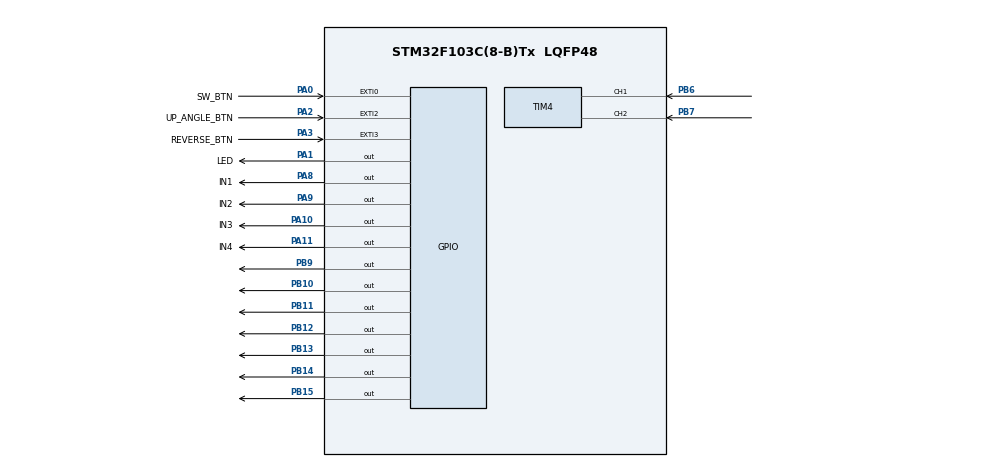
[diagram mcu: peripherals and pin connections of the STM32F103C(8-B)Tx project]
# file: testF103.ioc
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Mcu.Family=STM32F1
Mcu.Name=STM32F103C(8-B)Tx
Mcu.Package=LQFP48
NVIC.EXTI0_IRQn=true\:0\:0\:true\:false\:true\:true\:true\:true
NVIC.EXTI2_IRQn=true\:0\:0\:true\:false\:true\:true\:true\:true
NVIC.EXTI3_IRQn=true\:0\:0\:true\:false\:true\:true\:true\:true
NVIC.PriorityGroup=NVIC_PRIORITYGROUP_4
PA0-WKUP.GPIO_Label=SW_BTN
PA0-WKUP.GPIO_ModeDefaultEXTI=GPIO_MODE_IT_FALLING
PA0-WKUP.GPIO_PuPd=GPIO_PULLUP
PA0-WKUP.Signal=GPXTI0
PA1.GPIO_Label=LED
PA1.Signal=GPIO_Output
PA10.GPIO_Label=IN3
PA10.Signal=GPIO_Output
PA11.GPIO_Label=IN4
PA11.Signal=GPIO_Output
PA13.Mode=Serial_Wire
PA13.Signal=SYS_JTMS-SWDIO
PA14.Mode=Serial_Wire
PA14.Signal=SYS_JTCK-SWCLK
PA2.GPIO_Label=UP_ANGLE_BTN
PA2.GPIO_ModeDefaultEXTI=GPIO_MODE_IT_FALLING
PA2.GPIO_PuPd=GPIO_PULLUP
PA2.Signal=GPXTI2
PA3.GPIO_Label=REVERSE_BTN
PA3.GPIO_ModeDefaultEXTI=GPIO_MODE_IT_FALLING
PA3.GPIO_PuPd=GPIO_PULLUP
PA3.Signal=GPXTI3
PA8.GPIO_Label=IN1
PA8.Signal=GPIO_Output
PA9.GPIO_Label=IN2
PA9.Signal=GPIO_Output
PB10.Signal=GPIO_Output
PB11.Signal=GPIO_Output
PB12.Signal=GPIO_Output
PB13.Signal=GPIO_Output
PB14.Signal=GPIO_Output
PB15.Signal=GPIO_Output
PB4.Signal=SPI1_MISO
PB6.Signal=S_TIM4_CH1
PB7.Signal=S_TIM4_CH2
PB9.Signal=GPIO_Output
PD0-OSC_IN.Mode=HSE-External-Oscillator
PD0-OSC_IN.Signal=RCC_OSC_IN
PD1-OSC_OUT.Mode=HSE-External-Oscillator
PD1-OSC_OUT.Signal=RCC_OSC_OUT
ProjectManager.HeapSize=0x200
ProjectManager.StackSize=0x400
ProjectManager.TargetToolchain=MDK-ARM V5.32
RCC.APB1Freq_Value=8000000
RCC.APB2Freq_Value=8000000
SH.S_TIM4_CH1.0=TIM4_CH1,Encoder_Interface
SH.S_TIM4_CH2.0=TIM4_CH2,Encoder_Interface
TIM2.Period=0xffff-1
TIM2.Prescaler=8-1
TIM4.EncoderMode=TIM_ENCODERMODE_TI12
TIM4.IC1Filter=0
TIM4.IC2Filter=0
VP_TIM2_VS_ClockSourceINT.Mode=Internal
board=custom

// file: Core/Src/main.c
/* USER CODE BEGIN Header */
/**
  ******************************************************************************
  * @file           : main.c
  * @brief          : Main program body
  ******************************************************************************
  * @attention
  *
  * Copyright (c) 2024 STMicroelectronics.
  * All rights reserved.
  *
  * This software is licensed under terms that can be found in the LICENSE file
  * in the root directory of this software component.
  * If no LICENSE file comes with this software, it is provided AS-IS.
  *
  ******************************************************************************
  */
/* USER CODE END Header */
#include "main.h"

TIM_HandleTypeDef htim2;
TIM_HandleTypeDef htim4;

void SystemClock_Config(void);
static void MX_GPIO_Init(void);
static void MX_TIM2_Init(void);
static void MX_TIM4_Init(void);

/* USER CODE BEGIN 0 */
#include "delay.h"
#include "lcd.h"
#include "stdlib.h"
#include "stdint.h"
#include "stdio.h"
#include "math.h"

 // To process button event
#define DEBOUNCE_DELAY_MS 500
uint32_t lastButtonPressTime;
int runStatus;
float setAngleArr[] = {30, 45, 60, 90, 120, 180};
int setAngleArrLen = sizeof(setAngleArr) / sizeof(setAngleArr[0]);

 // To read rotary encoder
int encoderPos;
#define x4PulsePerEncoderRnd 10000

// To process the motion of step motor
const int rpm = 375;
float setAngle = 90;
float rotateAngle = 90;
#define stepPerRnd 200
#define microSecondPerMinute 60000000
const float transmitRatio = 1.25;
const float anglePerStep = 1.8;
const uint16_t seqHalfDrive[8] = {0x0800, 0x0C00, 0x0400, 0x0600, 0x0200, 0x0300, 0x0100, 0x0900};

/////////////////////////////////////////  Process button event  ///////////////////////////////////////////
float findNext(float arr[], int arrSize, float cur){
    if (arr[arrSize - 1] == cur) {
        return arr[0];
    }
    else{
        for (int i = 0; i < arrSize; i++) {
            if (arr[i] == cur) {
                return arr[i + 1];
            }
        }
    }
    return -1;
}

void HAL_GPIO_EXTI_Callback(uint16_t GPIO_Pin){
	// Denoise for button
	uint32_t currentTime = HAL_GetTick();
	if (currentTime - lastButtonPressTime < DEBOUNCE_DELAY_MS ) { return; }
	lastButtonPressTime = currentTime;

	// Handle button press event
	// <Start/Stop> button
	if (GPIO_Pin == GPIO_PIN_0){
		runStatus++;
	}
	// <Modify Rotate Angle> button
	else if (GPIO_Pin == GPIO_PIN_2){
		if (setAngle > 0){ setAngle = findNext(setAngleArr, setAngleArrLen, setAngle); }
		else{ setAngle = -findNext(setAngleArr, setAngleArrLen, fabs(setAngle)); }
		rotateAngle = setAngle;
	}
	// <Reverse Rotate Direction> button
	else if (GPIO_Pin == GPIO_PIN_3){
		setAngle = -setAngle;
		rotateAngle = setAngle;
	}

	// Update LCD
	if (runStatus % 2 == 1){
		LCD_GotoXY(0, 1);
		LCD_Puts("RUN - ANGLE:");
	} else if (runStatus % 2 == 0){
		LCD_GotoXY(0, 1);
		LCD_Puts(" STOP-ANGLE:");
	}
	char setAngleChar[5];
	sprintf(setAngleChar, "%d   ", (int)setAngle);
	LCD_GotoXY(12, 1);
	LCD_Puts(setAngleChar);
}
///////////////////////////////////////////////////////////////////////////////////////////////////////////////////////

///////////////////////  Read rotary encoder and control rotate angle of step motor  ////////////////////////
void makePosArr(float angle, float *posArr, int size) {
    for (int i = 0; i < size; i++) {
        posArr[i] = i * angle;
    }
}

float findNearest(float arr[], int arrSize, float num){
    int diff = fabs(arr[0] - num);
    int index = 0;
    for (int i = 1; i < arrSize; i++) {
        if (fabs(arr[i] - num) < diff) {
            diff = fabs(arr[i] - num);
            index = i;
        }
    }
    return arr[index];
}

void readEncoder(){
	// Read rotary encoder
	int cntValue = TIM4 -> CNT;
	encoderPos = round((360.0f / x4PulsePerEncoderRnd) * (cntValue % x4PulsePerEncoderRnd));

	// Control rotate angle of step motor
	int checkError = encoderPos % (int)setAngle;
	if (checkError!= 0){
		// Create the desired positions
		int posArrLen = (int) (360 / fabs(setAngle)) + 1;
		float posArr[posArrLen];
		makePosArr(fabs(setAngle), posArr, posArrLen);
		int nearestPos = findNearest(posArr, posArrLen, encoderPos);

		// Increase or decrease the steps to reach the desired position
		if (setAngle > 0){
			if (nearestPos > encoderPos){ rotateAngle = setAngle + (nearestPos - encoderPos); }
			else{ rotateAngle = setAngle - (encoderPos - nearestPos); }
		}
		else{
			if (nearestPos < encoderPos){ rotateAngle = -(fabs(setAngle) - (nearestPos - encoderPos)); }
			else{ rotateAngle = -(fabs(setAngle) + (encoderPos - nearestPos)); }
		}
	}
	else{ rotateAngle = setAngle; }

	// Update LCD
	LCD_GotoXY(0, 0);
	LCD_Puts(" POSITION: ");
	LCD_GotoXY(11, 0);
	char encoderPosChar[6];
	sprintf(encoderPosChar, "%d    ", encoderPos);
	LCD_Puts(encoderPosChar);
}
////////////////////////////////////////////////////////////////////////////////////////////////////

////////////////////////////  Process the motion of step motor  //////////////////////////////
void runStep(int time, int step){
	GPIOA->ODR &= ~(0xF << 8);
	GPIOA->ODR |= seqHalfDrive[step % 8];
	Delay_Us(time);
}

void runAngle(float angle) {
	if (angle == 0) { return; }
	else{
		// Set parameters to run step motor
		angle = angle / transmitRatio;
		int timePerStep = microSecondPerMinute / rpm / stepPerRnd;
		int stepNumber = (int)( round( fabs(angle) / anglePerStep ) ) * 2;

		// Run step motor
		if (angle >= 0){
			for(int step = stepNumber; step >= 0; step--) { runStep(timePerStep, step); }
		} else if (angle < 0) {
			for (int step = 0; step <= stepNumber; step++) { runStep(timePerStep, step); }
		}
	}
}

void runMotor(){
	if (runStatus % 2 == 1) {
		HAL_GPIO_WritePin(GPIOA, LED_Pin, 1);
		runAngle(rotateAngle);
		readEncoder();
		Delay_Ms(1000);
	} else if (runStatus % 2 == 0){
		HAL_GPIO_WritePin(GPIOA, LED_Pin, 0);
		runAngle(0);
	}
}
//////////////////////////////////////////////////////////////////////////////////////////////////

/* USER CODE END 0 */

int main(void)
{

  /* MCU Configuration--------------------------------------------------------*/

  /* Reset of all peripherals, Initializes the Flash interface and the Systick. */
  HAL_Init();

  /* Configure the system clock */
  SystemClock_Config();

  /* Initialize all configured peripherals */
  MX_GPIO_Init();
  MX_TIM2_Init();
  MX_TIM4_Init();
  /* USER CODE BEGIN 2 */
  HAL_TIM_Encoder_Start(&htim4, TIM_CHANNEL_1 | TIM_CHANNEL_2);
  Delay_Init();
  LCD_Init();
  LCD_Puts(" AUTO TURNTABLE ");
  LCD_GotoXY(0, 1);
  LCD_Puts(" STOP - ANGLE:0 ");

  /* USER CODE END 2 */

  /* Infinite loop */
  while (1)
  {

    /* USER CODE BEGIN 3 */
	runMotor();
  }
  /* USER CODE END 3 */
}

void SystemClock_Config(void)
{
  RCC_OscInitTypeDef RCC_OscInitStruct = {0};
  RCC_ClkInitTypeDef RCC_ClkInitStruct = {0};

  /** Initializes the RCC Oscillators according to the specified parameters
  * in the RCC_OscInitTypeDef structure.
  */
  RCC_OscInitStruct.OscillatorType = RCC_OSCILLATORTYPE_HSI;
  RCC_OscInitStruct.HSIState = RCC_HSI_ON;
  RCC_OscInitStruct.HSICalibrationValue = RCC_HSICALIBRATION_DEFAULT;
  RCC_OscInitStruct.PLL.PLLState = RCC_PLL_NONE;
  if (HAL_RCC_OscConfig(&RCC_OscInitStruct) != HAL_OK)
  {
    Error_Handler();
  }

  /** Initializes the CPU, AHB and APB buses clocks
  */
  RCC_ClkInitStruct.ClockType = RCC_CLOCKTYPE_HCLK|RCC_CLOCKTYPE_SYSCLK
                              |RCC_CLOCKTYPE_PCLK1|RCC_CLOCKTYPE_PCLK2;
  RCC_ClkInitStruct.SYSCLKSource = RCC_SYSCLKSOURCE_HSI;
  RCC_ClkInitStruct.AHBCLKDivider = RCC_SYSCLK_DIV1;
  RCC_ClkInitStruct.APB1CLKDivider = RCC_HCLK_DIV1;
  RCC_ClkInitStruct.APB2CLKDivider = RCC_HCLK_DIV1;

  if (HAL_RCC_ClockConfig(&RCC_ClkInitStruct, FLASH_LATENCY_0) != HAL_OK)
  {
    Error_Handler();
  }
}

static void MX_TIM2_Init(void)
{

  TIM_ClockConfigTypeDef sClockSourceConfig = {0};
  TIM_MasterConfigTypeDef sMasterConfig = {0};

  htim2.Instance = TIM2;
  htim2.Init.Prescaler = 8-1;
  htim2.Init.CounterMode = TIM_COUNTERMODE_UP;
  htim2.Init.Period = 0xffff-1;
  htim2.Init.ClockDivision = TIM_CLOCKDIVISION_DIV1;
  htim2.Init.AutoReloadPreload = TIM_AUTORELOAD_PRELOAD_DISABLE;
  if (HAL_TIM_Base_Init(&htim2) != HAL_OK)
  {
    Error_Handler();
  }
  sClockSourceConfig.ClockSource = TIM_CLOCKSOURCE_INTERNAL;
  if (HAL_TIM_ConfigClockSource(&htim2, &sClockSourceConfig) != HAL_OK)
  {
    Error_Handler();
  }
  sMasterConfig.MasterOutputTrigger = TIM_TRGO_RESET;
  sMasterConfig.MasterSlaveMode = TIM_MASTERSLAVEMODE_DISABLE;
  if (HAL_TIMEx_MasterConfigSynchronization(&htim2, &sMasterConfig) != HAL_OK)
  {
    Error_Handler();
  }

}

static void MX_TIM4_Init(void)
{

  TIM_Encoder_InitTypeDef sConfig = {0};
  TIM_MasterConfigTypeDef sMasterConfig = {0};

  htim4.Instance = TIM4;
  htim4.Init.Prescaler = 0;
  htim4.Init.CounterMode = TIM_COUNTERMODE_UP;
  htim4.Init.Period = 65535;
  htim4.Init.ClockDivision = TIM_CLOCKDIVISION_DIV1;
  htim4.Init.AutoReloadPreload = TIM_AUTORELOAD_PRELOAD_DISABLE;
  sConfig.EncoderMode = TIM_ENCODERMODE_TI12;
  sConfig.IC1Polarity = TIM_ICPOLARITY_RISING;
  sConfig.IC1Selection = TIM_ICSELECTION_DIRECTTI;
  sConfig.IC1Prescaler = TIM_ICPSC_DIV1;
  sConfig.IC1Filter = 0;
  sConfig.IC2Polarity = TIM_ICPOLARITY_RISING;
  sConfig.IC2Selection = TIM_ICSELECTION_DIRECTTI;
  sConfig.IC2Prescaler = TIM_ICPSC_DIV1;
  sConfig.IC2Filter = 0;
  if (HAL_TIM_Encoder_Init(&htim4, &sConfig) != HAL_OK)
  {
    Error_Handler();
  }
  sMasterConfig.MasterOutputTrigger = TIM_TRGO_RESET;
  sMasterConfig.MasterSlaveMode = TIM_MASTERSLAVEMODE_DISABLE;
  if (HAL_TIMEx_MasterConfigSynchronization(&htim4, &sMasterConfig) != HAL_OK)
  {
    Error_Handler();
  }

}

static void MX_GPIO_Init(void)
{
  GPIO_InitTypeDef GPIO_InitStruct = {0};

  /* GPIO Ports Clock Enable */
  __HAL_RCC_GPIOD_CLK_ENABLE();
  __HAL_RCC_GPIOA_CLK_ENABLE();
  __HAL_RCC_GPIOB_CLK_ENABLE();

  /*Configure GPIO pin Output Level */
  HAL_GPIO_WritePin(GPIOA, LED_Pin|IN1_Pin|IN2_Pin|IN3_Pin
                          |IN4_Pin, GPIO_PIN_RESET);

  /*Configure GPIO pin Output Level */
  HAL_GPIO_WritePin(GPIOB, GPIO_PIN_10|GPIO_PIN_11|GPIO_PIN_12|GPIO_PIN_13
                          |GPIO_PIN_14|GPIO_PIN_15|GPIO_PIN_9, GPIO_PIN_RESET);

  /*Configure GPIO pins : SW_BTN_Pin UP_ANGLE_BTN_Pin REVERSE_BTN_Pin */
  GPIO_InitStruct.Pin = SW_BTN_Pin|UP_ANGLE_BTN_Pin|REVERSE_BTN_Pin;
  GPIO_InitStruct.Mode = GPIO_MODE_IT_FALLING;
  GPIO_InitStruct.Pull = GPIO_PULLUP;
  HAL_GPIO_Init(GPIOA, &GPIO_InitStruct);

  /*Configure GPIO pins : LED_Pin IN1_Pin IN2_Pin IN3_Pin
                           IN4_Pin */
  GPIO_InitStruct.Pin = LED_Pin|IN1_Pin|IN2_Pin|IN3_Pin
                          |IN4_Pin;
  GPIO_InitStruct.Mode = GPIO_MODE_OUTPUT_PP;
  GPIO_InitStruct.Pull = GPIO_NOPULL;
  GPIO_InitStruct.Speed = GPIO_SPEED_FREQ_LOW;
  HAL_GPIO_Init(GPIOA, &GPIO_InitStruct);

  /*Configure GPIO pins : PB10 PB11 PB12 PB13
                           PB14 PB15 PB9 */
  GPIO_InitStruct.Pin = GPIO_PIN_10|GPIO_PIN_11|GPIO_PIN_12|GPIO_PIN_13
                          |GPIO_PIN_14|GPIO_PIN_15|GPIO_PIN_9;
  GPIO_InitStruct.Mode = GPIO_MODE_OUTPUT_PP;
  GPIO_InitStruct.Pull = GPIO_NOPULL;
  GPIO_InitStruct.Speed = GPIO_SPEED_FREQ_LOW;
  HAL_GPIO_Init(GPIOB, &GPIO_InitStruct);

  /*Configure GPIO pin : PB4 */
  GPIO_InitStruct.Pin = GPIO_PIN_4;
  GPIO_InitStruct.Mode = GPIO_MODE_AF_PP;
  GPIO_InitStruct.Speed = GPIO_SPEED_FREQ_HIGH;
  HAL_GPIO_Init(GPIOB, &GPIO_InitStruct);

  /*Configure peripheral I/O remapping */
  __HAL_AFIO_REMAP_SPI1_ENABLE();

  /* EXTI interrupt init*/
  HAL_NVIC_SetPriority(EXTI0_IRQn, 0, 0);
  HAL_NVIC_EnableIRQ(EXTI0_IRQn);

  HAL_NVIC_SetPriority(EXTI2_IRQn, 0, 0);
  HAL_NVIC_EnableIRQ(EXTI2_IRQn);

  HAL_NVIC_SetPriority(EXTI3_IRQn, 0, 0);
  HAL_NVIC_EnableIRQ(EXTI3_IRQn);

}

void Error_Handler(void)
{
  __disable_irq();
  while (1)
  {
  }
}
